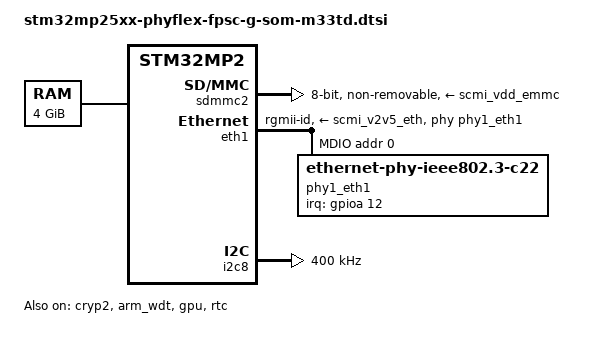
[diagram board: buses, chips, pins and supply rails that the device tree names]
// SPDX-License-Identifier: (GPL-2.0+ OR BSD-3-Clause)
/*
 * Copyright (C) 2026 PHYTEC Messtechnik GmbH
 * Authors: Christophe Parant <c.parant@phytec.fr>
 *          Nicolas Raimundo <n.raimundo@phytec.fr>
 */

#include "stm32mp2-phyflex-fpsc-g-som-pinctrl.dtsi"
#include "stm32mp25xxak-pinctrl.dtsi"
#include "stm32mp25xx-phyflex-fpsc-g-som-m33td-resmem.dtsi"
#include <dt-bindings/net/ti-dp83867.h>

/ {
	memory@80000000 {
		device_type = "memory";
		reg = <0x0 0x80000000 0x1 0x0>;
	};

	ca35ss_clk: ca35ss-clk {
		compatible = "st,stm32mp2-ca35ss-clk";
		#clock-cells = <0>;
	};

	cpu0_opp_table: cpu0-opp-table {
		compatible = "operating-points-v2";
		opp-shared;

		opp-1200000000 {
			opp-hz = /bits/ 64 <1200000000>;
			opp-suspend;
		};

		opp-1500000000 {
			opp-hz = /bits/ 64 <1500000000>;
		};
	};
};

&crc {
	status = "disabled";
};

&cryp2 {
	status = "okay";
};

&cpu0 {
	operating-points-v2 = <&cpu0_opp_table>;
	clocks = <&ca35ss_clk>;
};

&cpu1 {
	operating-points-v2 = <&cpu0_opp_table>;
	clocks = <&ca35ss_clk>;
};

&ipcc1 {
	/delete-property/clocks;
	status = "okay";
};

&scmi {
	compatible = "arm,scmi";
	#address-cells = <1>;
	#size-cells = <0>;
	mboxes = <&ipcc1 0x10f>;
	mbox-names = "tx";
	shmem = <&scmi_cid1_ns>;
	/delete-property/ linaro,optee-channel-id;
	/delete-node/protocol@13;
};

&scmi_vddio2 {
	status = "okay";
};

&bsec {
	memory-region = <&bsec_mirror>;
};

&hpdma {
	memory-region = <&hpdma1_lli>;
};

&hpdma2 {
	memory-region = <&hpdma2_lli>;
};

&hpdma3 {
	memory-region = <&hpdma3_lli>;
};

&arm_wdt {
	timeout-sec = <32>;
	status = "okay";
};

&sdmmc2 {
	pinctrl-names = "default", "opendrain", "sleep";
	pinctrl-0 = <&sdmmc2_b4_pins_a &sdmmc2_d47_pins_a>;
	pinctrl-1 = <&sdmmc2_b4_od_pins_a &sdmmc2_d47_pins_a>;
	pinctrl-2 = <&sdmmc2_b4_sleep_pins_a &sdmmc2_d47_sleep_pins_a>;
	non-removable;
	no-sd;
	no-sdio;
	st,neg-edge;
	bus-width = <8>;
	vmmc-supply = <&scmi_vdd_emmc>;
	vqmmc-supply = <&scmi_vddio2>;
	mmc-ddr-1_8v;
	mmc-hs200-1_8v;
	status = "okay";
};

&eth1 {
	status = "okay";
	pinctrl-0 = <&eth1_rgmii_pins_c &eth1_mdio_pins_a>;
	pinctrl-1 = <&eth1_rgmii_sleep_pins_c &eth1_mdio_sleep_pins_a>;
	pinctrl-names = "default", "sleep";
	phy-mode = "rgmii-id";
	max-speed = <1000>;
	phy-handle = <&phy1_eth1>;
	st,eth-clk-sel;
	phy-supply = <&scmi_v2v5_eth>;

	mdio1 {
		#address-cells = <1>;
		#size-cells = <0>;
		compatible = "snps,dwmac-mdio";
		phy1_eth1: ethernet-phy@0 {
			compatible = "ethernet-phy-ieee802.3-c22";
			interrupt-parent = <&gpioa>;
			interrupts = <12 IRQ_TYPE_LEVEL_LOW>;
			ti,rx-internal-delay = <DP83867_RGMIIDCTL_2_00_NS>;
			ti,tx-internal-delay = <DP83867_RGMIIDCTL_2_00_NS>;
			ti,fifo-depth = <DP83867_PHYCR_FIFO_DEPTH_4_B_NIB>;
			ti,clk-output-sel = <DP83867_CLK_O_SEL_OFF>;
			enet-phy-lane-no-swap;
			reg = <0x0>;
		};
	};
};

&gpu {
	contiguous-area = <&gpu_reserved>;
	status = "okay";
};

&rtc {
	status = "okay";
};

&i2c8 {
	pinctrl-names = "default", "sleep";
	pinctrl-0 = <&i2c8_pins_a>;
	pinctrl-1 = <&i2c8_sleep_pins_a>;
	clock-frequency = <400000>;
	/delete-property/dmas;
	/delete-property/dma-names;
	status = "okay";

	i2c8_eeprom: eeprom@50 {
		compatible = "microchip,24c32", "atmel,24c32";
		reg = <0x50>;
		status = "disabled";
	};

	i2c8_rtc: rtc@52 {
		compatible = "microcrystal,rv3028";
		reg = <0x52>;
		status = "disabled";
	};

	i2c8_tmp102: tmp102@48 {
		compatible = "ti,tmp102";
		reg = <0x48>;
		status = "disabled";
	};
};

&scmi_regu {
	scmi_vddio1: regulator@0 {
		regulator-min-microvolt = <1800000>;
		regulator-max-microvolt = <3300000>;
	};
	scmi_vddcore: regulator@b {
		reg = <VOLTD_SCMI_STPMIC2_BUCK2>;
		regulator-name = "vddcore";
	};
	scmi_v1v8: regulator@e {
		reg = <VOLTD_SCMI_STPMIC2_BUCK5>;
		regulator-name = "v1v8";
	};
	scmi_v3v3: regulator@10 {
		reg = <VOLTD_SCMI_STPMIC2_BUCK7>;
		regulator-name = "v3v3";
	};
	scmi_vdd_emmc: regulator@12 {
		reg = <VOLTD_SCMI_STPMIC2_LDO2>;
		regulator-name = "vdd_emmc";
	};
	scmi_vdd3v3_usb: regulator@14 {
		reg = <VOLTD_SCMI_STPMIC2_LDO4>;
		regulator-name = "vdd3v3_usb";
	};
	scmi_v2v5_eth: regulator@15 {
		reg = <VOLTD_SCMI_STPMIC2_LDO5>;
		regulator-name = "VDD_ENET_2V5";
	};
	scmi_pmic_ld06: regulator@16 {
		reg = <VOLTD_SCMI_STPMIC2_LDO6>;
		regulator-name = "X_PMIC_LDO6";
	};
	scmi_vdd_sdcard: regulator@17 {
		reg = <VOLTD_SCMI_STPMIC2_LDO7>;
		regulator-name = "vdd_sdcard";
	};
};
